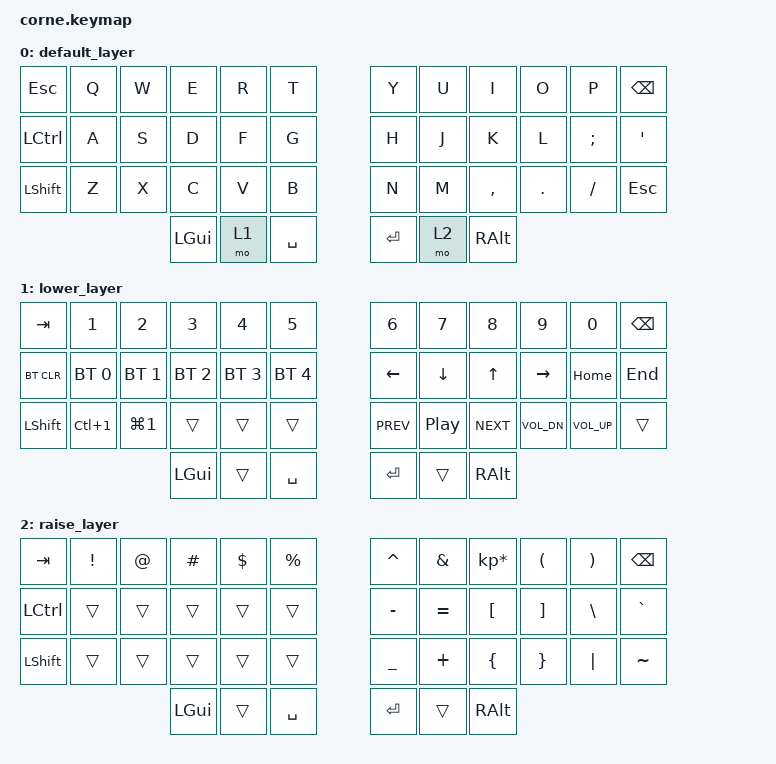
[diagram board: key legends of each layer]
/*
 * Copyright (c) 2020 The ZMK Contributors
 *
 * SPDX-License-Identifier: MIT
 */

#include <behaviors.dtsi>
#include <dt-bindings/zmk/bt.h>
#include <dt-bindings/zmk/keys.h>

/ {
    behaviors {
        new_behavior: new_behavior {
            compatible = "zmk,behavior-mod-morph";
            label = "NEW_BEHAVIOR";
            bindings = <&kp BACKSPACE>, <&kp DELETE>;

            #binding-cells = <0>;
            mods = <(MOD_LSFT|MOD_RSFT)>;
        };
    };

    keymap {
        compatible = "zmk,keymap";

        default_layer {
            // -----------------------------------------------------------------------------------------
            // |  TAB |  Q  |  W  |  E  |  R  |  T  |   |  Y  |  U   |  I  |  O  |  P  | BKSP |
            // | CTRL |  A  |  S  |  D  |  F  |  G  |   |  H  |  J   |  K  |  L  |  ;  |  '   |
            // | SHFT |  Z  |  X  |  C  |  V  |  B  |   |  N  |  M   |  ,  |  .  |  /  | ESC  |
            //                    | GUI | LWR | SPC |   | ENT | RSE  | ALT |

            bindings = <
&kp ESCAPE  &kp Q  &kp W  &kp E     &kp R  &kp T        &kp Y    &kp U  &kp I      &kp O    &kp P     &kp BSPC
&kp LCTRL   &kp A  &kp S  &kp D     &kp F  &kp G        &kp H    &kp J  &kp K      &kp L    &kp SEMI  &kp SQT
&kp LSHFT   &kp Z  &kp X  &kp C     &kp V  &kp B        &kp N    &kp M  &kp COMMA  &kp DOT  &kp FSLH  &kp ESC
                          &kp LGUI  &mo 1  &kp SPACE    &kp RET  &mo 2  &kp RALT
            >;
        };

        lower_layer {
            // -----------------------------------------------------------------------------------------
            // |  TAB |  1  |  2  |  3  |  4  |  5  |   |  6  |  7  |  8  |  9  |  0  | BKSP |
            // | BTCLR| BT1 | BT2 | BT3 | BT4 | BT5 |   | LFT | DWN |  UP | RGT |     |      |
            // | SHFT |     |     |     |     |     |   |     |     |     |     |     |      |
            //                    | GUI |     | SPC |   | ENT |     | ALT |

            bindings = <
&kp TAB     &kp N1            &kp N2            &kp N3        &kp N4        &kp N5          &kp N6      &kp N7            &kp N8      &kp N9        &kp N0        &kp BSPC
&bt BT_CLR  &bt BT_SEL 0      &bt BT_SEL 1      &bt BT_SEL 2  &bt BT_SEL 3  &bt BT_SEL 4    &kp LEFT    &kp DOWN          &kp UP      &kp RIGHT     &kp HOME      &kp END
&kp LSHFT   &kp LC(NUMBER_1)  &kp LG(NUMBER_1)  &trans        &trans        &trans          &kp C_PREV  &kp C_PLAY_PAUSE  &kp C_NEXT  &kp C_VOL_DN  &kp C_VOL_UP  &trans
                                                &kp LGUI      &trans        &kp SPACE       &kp RET     &trans            &kp RALT
            >;
        };

        raise_layer {
            // -----------------------------------------------------------------------------------------
            // |  TAB |  !  |  @  |  #  |  $  |  %  |   |  ^  |  &  |  *  |  (  |  )  | BKSP |
            // | CTRL |     |     |     |     |     |   |  -  |  =  |  [  |  ]  |  \  |  `   |
            // | SHFT |     |     |     |     |     |   |  _  |  +  |  {  |  }  | "|" |  ~   |
            //                    | GUI |     | SPC |   | ENT |     | ALT |

            bindings = <
&kp TAB    &kp EXCL  &kp AT  &kp HASH  &kp DLLR  &kp PRCNT    &kp CARET  &kp AMPS   &kp KP_MULTIPLY  &kp LPAR  &kp RPAR  &kp BSPC
&kp LCTRL  &trans    &trans  &trans    &trans    &trans       &kp MINUS  &kp EQUAL  &kp LBKT         &kp RBKT  &kp BSLH  &kp GRAVE
&kp LSHFT  &trans    &trans  &trans    &trans    &trans       &kp UNDER  &kp PLUS   &kp LBRC         &kp RBRC  &kp PIPE  &kp TILDE
                             &kp LGUI  &trans    &kp SPACE    &kp RET    &trans     &kp RALT
            >;
        };
    };
};
